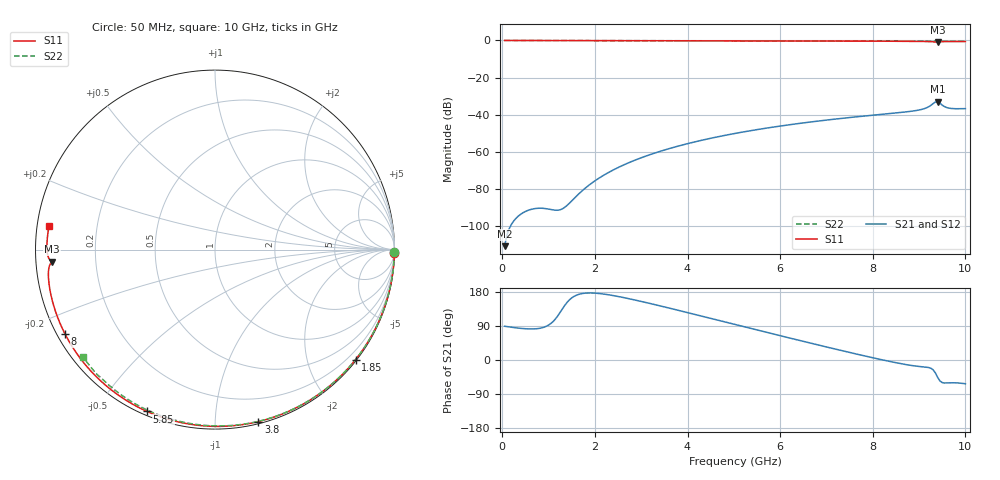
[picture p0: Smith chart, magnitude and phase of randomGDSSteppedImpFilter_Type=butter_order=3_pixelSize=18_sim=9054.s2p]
! freq	dB(S11)	phase(S11)	dB(S12)	phase(S12)
!  dB(S21)	phase(S21)	dB(S22)	phase(S22)
!S-par simulation data
#  GHz  S  DB  R 50
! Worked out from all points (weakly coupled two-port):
!   200 points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, 50 MHz to 10 GHz, reference 50 ohm
!   highest |S21| = -32.96 dB at 9.4 GHz (marker M1); lowest = -110.7 dB at 50 MHz (marker M2)
!   lowest |S11| = -0.8 dB at 9.4 GHz (marker M3), VSWR 21.38, Z = 2.34 - j1.85 ohm
!   |S11| at or under -10 dB: nowhere
!   |S22| runs from -0.5 to 0.0 dB; largest |S21 - S12| = 0
!   S11 on the Smith chart (normalised r, x): 50 MHz: open; 1.85 GHz: 0.03, -2.90; 3.8 GHz: 0.02, -1.28; 5.85 GHz: 0.02, -0.66; 8 GHz: 0.02, -0.26; 10 GHz: 0.03, +0.07
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0.05  -0.00 -1.1  -110.74 89.1  -110.74 89.1  -0.00 -0.8
0.85  -0.02 -17.7  -90.32 84.7  -90.32 84.7  -0.02 -13.8
1.75  -0.05 -36.1  -80.37 175.8  -80.37 175.8  -0.04 -28.1
1.85  -0.05 -38.1  -78.32 176.8  -78.32 176.8  -0.04 -29.7
2.15  -0.06 -44.1  -73.15 174.7  -73.15 174.7  -0.04 -34.4
2.5  -0.07 -51.0  -68.42 167.7  -68.42 167.7  -0.05 -39.8
2.9  -0.08 -58.8  -64.10 157.4  -64.10 157.4  -0.06 -45.9
3.4  -0.09 -68.3  -59.75 143.1  -59.75 143.1  -0.07 -53.4
3.8  -0.10 -75.9  -56.86 131.1  -56.86 131.1  -0.08 -59.3
4.4  -0.12 -86.9  -53.20 112.9  -53.20 112.9  -0.10 -68.0
5.05  -0.15 -98.6  -49.94 93.0  -49.94 93.0  -0.12 -77.2
5.85  -0.19 -112.8  -46.63 68.7  -46.63 68.7  -0.15 -88.1
6.7  -0.25 -127.6  -43.75 43.2  -43.75 43.2  -0.19 -99.4
8  -0.37 -150.5  -40.23 5.9  -40.23 5.9  -0.28 -116.0
8.35  -0.41 -156.9  -39.39 -3.4  -39.39 -3.4  -0.31 -120.3
9.05  -0.53 -170.3  -37.16 -17.7  -37.16 -17.7  -0.37 -129.0
9.2  -0.60 -173.3  -35.80 -19.7  -35.80 -19.7  -0.39 -130.8
9.35  -0.81 -175.7  -33.13 -33.7  -33.13 -33.7  -0.39 -132.5
9.4  -0.81 -175.8  -32.96 -45.5  -32.96 -45.5  -0.38 -133.2
9.6  -0.58 -179.5  -36.14 -60.6  -36.14 -60.6  -0.41 -135.8
9.75  -0.57 177.1  -36.72 -60.1  -36.72 -60.1  -0.43 -137.6
10  -0.59 171.8  -36.68 -62.7  -36.68 -62.7  -0.47 -140.7
